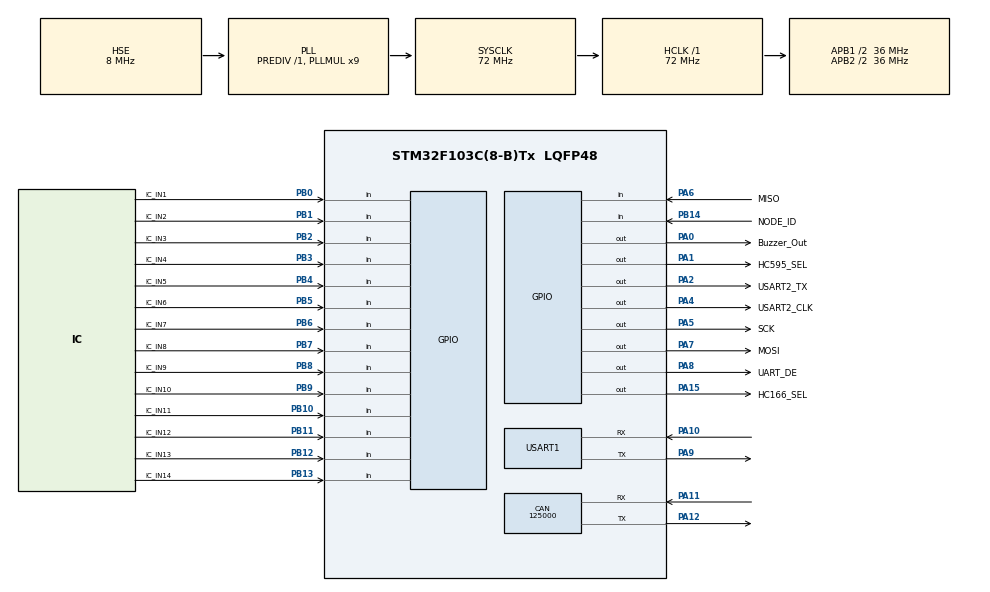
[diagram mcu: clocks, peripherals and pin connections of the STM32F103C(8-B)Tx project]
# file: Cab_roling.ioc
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CAN.BS1=CAN_BS1_15TQ
CAN.BS2=CAN_BS2_2TQ
CAN.CalculateBaudRate=125000
CAN.CalculateTimeBit=8000
CAN.CalculateTimeQuantum=444.44444444444446
CAN.NART=ENABLE
Mcu.Family=STM32F1
Mcu.Name=STM32F103C(8-B)Tx
Mcu.Package=LQFP48
NVIC.CAN1_RX1_IRQn=true\:0\:0\:false\:false\:true\:true\:true\:true
NVIC.CAN1_SCE_IRQn=true\:0\:0\:false\:false\:true\:true\:true\:true
NVIC.PriorityGroup=NVIC_PRIORITYGROUP_4
NVIC.TIM2_IRQn=true\:1\:0\:true\:false\:true\:true\:true\:true
NVIC.TIM4_IRQn=true\:0\:0\:false\:false\:true\:true\:true\:true
NVIC.USART1_IRQn=true\:2\:0\:true\:false\:true\:true\:true\:true
NVIC.USB_HP_CAN1_TX_IRQn=true\:0\:0\:false\:false\:true\:true\:true\:true
NVIC.USB_LP_CAN1_RX0_IRQn=true\:0\:0\:false\:false\:true\:true\:true\:true
PA0-WKUP.GPIO_Label=Buzzer_Out
PA0-WKUP.Signal=GPIO_Output
PA1.GPIO_Label=HC595_SEL
PA1.Signal=GPIO_Output
PA10.Mode=Asynchronous
PA10.Signal=USART1_RX
PA11.Mode=CAN_Activate
PA11.Signal=CAN_RX
PA12.Mode=CAN_Activate
PA12.Signal=CAN_TX
PA13.Mode=Serial_Wire
PA13.Signal=SYS_JTMS-SWDIO
PA14.Mode=Serial_Wire
PA14.Signal=SYS_JTCK-SWCLK
PA15.GPIO_Label=HC166_SEL
PA15.Signal=GPIO_Output
PA2.GPIO_Label=USART2_TX
PA2.GPIO_Speed=GPIO_SPEED_FREQ_HIGH
PA2.Signal=GPIO_Output
PA4.GPIO_Label=USART2_CLK
PA4.GPIO_Speed=GPIO_SPEED_FREQ_HIGH
PA4.Signal=GPIO_Output
PA5.GPIO_Label=SCK
PA5.GPIO_Speed=GPIO_SPEED_FREQ_HIGH
PA5.Signal=GPIO_Output
PA6.GPIO_Label=MISO
PA6.Signal=GPIO_Input
PA7.GPIO_Label=MOSI
PA7.Signal=GPIO_Output
PA8.GPIO_Label=UART_DE
PA8.Signal=GPIO_Output
PA9.Mode=Asynchronous
PA9.Signal=USART1_TX
PB0.GPIO_Label=IC_IN1
PB0.Signal=GPIO_Input
PB1.GPIO_Label=IC_IN2
PB1.Signal=GPIO_Input
PB10.GPIO_Label=IC_IN11
PB10.Signal=GPIO_Input
PB11.GPIO_Label=IC_IN12
PB11.Signal=GPIO_Input
PB12.GPIO_Label=IC_IN13
PB12.Signal=GPIO_Input
PB13.GPIO_Label=IC_IN14
PB13.Signal=GPIO_Input
PB14.GPIO_Label=NODE_ID
PB14.GPIO_PuPd=GPIO_PULLUP
PB14.Signal=GPIO_Input
PB2.GPIO_Label=IC_IN3
PB2.Signal=GPIO_Input
PB3.GPIO_Label=IC_IN4
PB3.Signal=GPIO_Input
PB4.GPIO_Label=IC_IN5
PB4.Signal=GPIO_Input
PB5.GPIO_Label=IC_IN6
PB5.Signal=GPIO_Input
PB6.GPIO_Label=IC_IN7
PB6.Signal=GPIO_Input
PB7.GPIO_Label=IC_IN8
PB7.Signal=GPIO_Input
PB8.GPIO_Label=IC_IN9
PB8.Signal=GPIO_Input
PB9.GPIO_Label=IC_IN10
PB9.Signal=GPIO_Input
PD0-OSC_IN.Mode=HSE-External-Oscillator
PD0-OSC_IN.Signal=RCC_OSC_IN
PD1-OSC_OUT.Mode=HSE-External-Oscillator
PD1-OSC_OUT.Signal=RCC_OSC_OUT
ProjectManager.HeapSize=0x2000
ProjectManager.StackSize=0x4000
ProjectManager.TargetToolchain=STM32CubeIDE
RCC.AHBFreq_Value=72000000
RCC.APB1CLKDivider=RCC_HCLK_DIV2
RCC.APB1Freq_Value=36000000
RCC.APB1TimFreq_Value=72000000
RCC.APB2CLKDivider=RCC_HCLK_DIV2
RCC.APB2Freq_Value=36000000
RCC.APB2TimFreq_Value=72000000
RCC.HCLKFreq_Value=72000000
RCC.PLLMUL=RCC_PLL_MUL9
RCC.PLLSourceVirtual=RCC_PLLSOURCE_HSE
RCC.SYSCLKFreq_VALUE=72000000
RCC.SYSCLKSource=RCC_SYSCLKSOURCE_PLLCLK
RCC.USBFreq_Value=72000000
TIM2.Period=4999
TIM2.Prescaler=7199
TIM4.Period=19
TIM4.Prescaler=7199
USART1.VirtualMode=VM_ASYNC
VP_TIM2_VS_ClockSourceINT.Mode=Internal
VP_TIM4_VS_ClockSourceINT.Mode=Internal
board=custom

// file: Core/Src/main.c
/* USER CODE BEGIN Header */
/**
 ******************************************************************************
 * @file           : main.c
 * @brief          : Main program body
 ******************************************************************************
 * @attention
 *
 * Copyright (c) 2022 STMicroelectronics.
 * All rights reserved.
 *
 * This software is licensed under terms that can be found in the LICENSE file
 * in the root directory of this software component.
 * If no LICENSE file comes with this software, it is provided AS-IS.
 *
 ******************************************************************************
 */
/* USER CODE END Header */
#include "main.h"

/* USER CODE BEGIN Includes */
#include "allHeader.h"
/* USER CODE END Includes */

/* USER CODE BEGIN PM */

#define PC13_OUT (*(volatile uint32_t *)0x422201B4)

#define SP 0x5000
#define VP 0x1003
#define PAUSE 1
#define STATIC 3
#define HIDE 2
#define NORMAL 0

#define RED 0XF800
#define WHITE 0xFFFF
/* USER CODE END PM */

 CAN_HandleTypeDef hcan;

TIM_HandleTypeDef htim2;
TIM_HandleTypeDef htim4;

UART_HandleTypeDef huart1;

void SystemClock_Config(void);
static void MX_GPIO_Init(void);
static void MX_CAN_Init(void);
static void MX_TIM2_Init(void);
static void MX_USART1_UART_Init(void);
static void MX_TIM4_Init(void);

/* USER CODE BEGIN 0 */

/*--
 * leghtRequest: lenght of cable will be cut
 * quantityRequest: quantity uints will be cut
     2 variable use for Binz

 * SCALEROTAION define should be change in input.h :
 * actualMet is variable measure meter reality
 * speedEncoderRPM is variale to measure speed of encoder
--*/

uint32_t test ;
char Textmessage[55]= "Welcome to Zeit Elevator!";
char TextErrmessage[55]= "ERROR_EMERGENCY";
uint8_t buf[100] = {0};

int _write(int file, char *ptr, int len)
{
  /* Implement your write code here, this is used by puts and printf for example */
  int i=0;
  for(i=0 ; i<len ; i++)
    ITM_SendChar((*ptr++));
  return len;
}

int Dwin_Write_VP(uint16_t Addr,uint8_t *data,uint16_t len)
{
	uint8_t DwinBuf[100];
	DwinBuf[0] = 0x5A;
	DwinBuf[1] = 0xA5;
	DwinBuf[2] = 2*len + 1;  //
	DwinBuf[3] = 0x82;
	DwinBuf[4] = Addr>>8;
	DwinBuf[5] = Addr;
	for(int i=0;i<len;i++)
	{
		DwinBuf[6+i] = data[i];
	}
    len = 2*len + 4;
    HAL_UART_Transmit(&huart1, DwinBuf, len, 100);
	return 1;
}

void changeColor(uint16_t sp, uint16_t color)
{
	  uint8_t bufferColor[2] = {0};
    bufferColor[0]        = color >> 8;
    bufferColor[1]        = color;
    Dwin_Write_VP(sp + 3, bufferColor,2);
}

void changModeRollText(uint16_t sp, uint16_t mode)
{
  uint8_t bufferColor[2] = {0};
  bufferColor[0]         = mode >> 8;
  bufferColor[1]         = mode;
  Dwin_Write_VP(sp + 2, bufferColor,2);
}

void middleRollText(uint16_t sp, uint8_t mode)
{
  Dwin_Write_VP(sp + 2, &mode,2);
}
void roll(void)
{
  changeColor(SP,WHITE);
	for (int i = 0; i <= sizeof(Textmessage); i++)
	{
		buf[2*i+1] = Textmessage[i];
	}
	Dwin_Write_VP(VP,buf,55);
  changModeRollText(SP,NORMAL);
}

void SHOW(void)
{
  changModeRollText(SP,STATIC);
  middleRollText(SP,2); // middle
  changeColor(SP,RED);
	for (int i = 0; i <= sizeof(Textmessage); i++)
	{
		buf[2*i+1] = TextErrmessage[i];
	}
	Dwin_Write_VP(VP,buf,55);
}
/* USER CODE END 0 */

int main(void)
{

  /* MCU Configuration--------------------------------------------------------*/

  /* Reset of all peripherals, Initializes the Flash interface and the Systick. */
  HAL_Init();

  /* Configure the system clock */
  SystemClock_Config();

  /* Initialize all configured peripherals */
  MX_GPIO_Init();
  MX_CAN_Init();
  MX_TIM2_Init();
  MX_USART1_UART_Init();
  MX_TIM4_Init();
  /* USER CODE BEGIN 2 */
  //HAL_TIM_Encoder_Start(&htim3 , TIM_CHANNEL_ALL);
  HAL_TIM_Base_Start_IT(&htim2);
  HAL_UART_Receive_IT(&huart1, &rxData, 1);
  HAL_TIM_Base_Start_IT(&htim4);
  test  = 0x42000000 + (uint32_t)(&GPIOC->ODR)*32 + 13*4;

  PC13_OUT = 1;

  // roll();
  // HAL_Delay(10000);

  // SHOW();
  // HAL_Delay(5000);

  // roll();

roll();
HAL_Delay(10000);
SHOW();
HAL_Delay(5000);

roll();

  /* USER CODE END 2 */

  /* Infinite loop */
  while(1)
  {

  }
}

void SystemClock_Config(void)
{
  RCC_OscInitTypeDef RCC_OscInitStruct = {0};
  RCC_ClkInitTypeDef RCC_ClkInitStruct = {0};

  /** Initializes the RCC Oscillators according to the specified parameters
  * in the RCC_OscInitTypeDef structure.
  */
  RCC_OscInitStruct.OscillatorType = RCC_OSCILLATORTYPE_HSE;
  RCC_OscInitStruct.HSEState = RCC_HSE_ON;
  RCC_OscInitStruct.HSEPredivValue = RCC_HSE_PREDIV_DIV1;
  RCC_OscInitStruct.HSIState = RCC_HSI_ON;
  RCC_OscInitStruct.PLL.PLLState = RCC_PLL_ON;
  RCC_OscInitStruct.PLL.PLLSource = RCC_PLLSOURCE_HSE;
  RCC_OscInitStruct.PLL.PLLMUL = RCC_PLL_MUL9;
  if (HAL_RCC_OscConfig(&RCC_OscInitStruct) != HAL_OK)
  {
    Error_Handler();
  }

  /** Initializes the CPU, AHB and APB buses clocks
  */
  RCC_ClkInitStruct.ClockType = RCC_CLOCKTYPE_HCLK|RCC_CLOCKTYPE_SYSCLK
                              |RCC_CLOCKTYPE_PCLK1|RCC_CLOCKTYPE_PCLK2;
  RCC_ClkInitStruct.SYSCLKSource = RCC_SYSCLKSOURCE_PLLCLK;
  RCC_ClkInitStruct.AHBCLKDivider = RCC_SYSCLK_DIV1;
  RCC_ClkInitStruct.APB1CLKDivider = RCC_HCLK_DIV2;
  RCC_ClkInitStruct.APB2CLKDivider = RCC_HCLK_DIV2;

  if (HAL_RCC_ClockConfig(&RCC_ClkInitStruct, FLASH_LATENCY_2) != HAL_OK)
  {
    Error_Handler();
  }
}

static void MX_CAN_Init(void)
{

  hcan.Instance = CAN1;
  hcan.Init.Prescaler = 16;
  hcan.Init.Mode = CAN_MODE_NORMAL;
  hcan.Init.SyncJumpWidth = CAN_SJW_1TQ;
  hcan.Init.TimeSeg1 = CAN_BS1_15TQ;
  hcan.Init.TimeSeg2 = CAN_BS2_2TQ;
  hcan.Init.TimeTriggeredMode = DISABLE;
  hcan.Init.AutoBusOff = DISABLE;
  hcan.Init.AutoWakeUp = DISABLE;
  hcan.Init.AutoRetransmission = ENABLE;
  hcan.Init.ReceiveFifoLocked = DISABLE;
  hcan.Init.TransmitFifoPriority = DISABLE;
  if (HAL_CAN_Init(&hcan) != HAL_OK)
  {
    Error_Handler();
  }

}

static void MX_TIM2_Init(void)
{

  TIM_ClockConfigTypeDef sClockSourceConfig = {0};
  TIM_MasterConfigTypeDef sMasterConfig = {0};

  htim2.Instance = TIM2;
  htim2.Init.Prescaler = 7199;
  htim2.Init.CounterMode = TIM_COUNTERMODE_UP;
  htim2.Init.Period = 4999;
  htim2.Init.ClockDivision = TIM_CLOCKDIVISION_DIV1;
  htim2.Init.AutoReloadPreload = TIM_AUTORELOAD_PRELOAD_DISABLE;
  if (HAL_TIM_Base_Init(&htim2) != HAL_OK)
  {
    Error_Handler();
  }
  sClockSourceConfig.ClockSource = TIM_CLOCKSOURCE_INTERNAL;
  if (HAL_TIM_ConfigClockSource(&htim2, &sClockSourceConfig) != HAL_OK)
  {
    Error_Handler();
  }
  sMasterConfig.MasterOutputTrigger = TIM_TRGO_RESET;
  sMasterConfig.MasterSlaveMode = TIM_MASTERSLAVEMODE_DISABLE;
  if (HAL_TIMEx_MasterConfigSynchronization(&htim2, &sMasterConfig) != HAL_OK)
  {
    Error_Handler();
  }

}

static void MX_TIM4_Init(void)
{

  TIM_ClockConfigTypeDef sClockSourceConfig = {0};
  TIM_MasterConfigTypeDef sMasterConfig = {0};

  htim4.Instance = TIM4;
  htim4.Init.Prescaler = 7199;
  htim4.Init.CounterMode = TIM_COUNTERMODE_UP;
  htim4.Init.Period = 19;
  htim4.Init.ClockDivision = TIM_CLOCKDIVISION_DIV1;
  htim4.Init.AutoReloadPreload = TIM_AUTORELOAD_PRELOAD_DISABLE;
  if (HAL_TIM_Base_Init(&htim4) != HAL_OK)
  {
    Error_Handler();
  }
  sClockSourceConfig.ClockSource = TIM_CLOCKSOURCE_INTERNAL;
  if (HAL_TIM_ConfigClockSource(&htim4, &sClockSourceConfig) != HAL_OK)
  {
    Error_Handler();
  }
  sMasterConfig.MasterOutputTrigger = TIM_TRGO_RESET;
  sMasterConfig.MasterSlaveMode = TIM_MASTERSLAVEMODE_DISABLE;
  if (HAL_TIMEx_MasterConfigSynchronization(&htim4, &sMasterConfig) != HAL_OK)
  {
    Error_Handler();
  }

}

static void MX_USART1_UART_Init(void)
{

  huart1.Instance = USART1;
  huart1.Init.BaudRate = 115200;
  huart1.Init.WordLength = UART_WORDLENGTH_8B;
  huart1.Init.StopBits = UART_STOPBITS_1;
  huart1.Init.Parity = UART_PARITY_NONE;
  huart1.Init.Mode = UART_MODE_TX_RX;
  huart1.Init.HwFlowCtl = UART_HWCONTROL_NONE;
  huart1.Init.OverSampling = UART_OVERSAMPLING_16;
  if (HAL_UART_Init(&huart1) != HAL_OK)
  {
    Error_Handler();
  }

}

static void MX_GPIO_Init(void)
{
  GPIO_InitTypeDef GPIO_InitStruct = {0};

  /* GPIO Ports Clock Enable */
  __HAL_RCC_GPIOD_CLK_ENABLE();
  __HAL_RCC_GPIOA_CLK_ENABLE();
  __HAL_RCC_GPIOB_CLK_ENABLE();

  /*Configure GPIO pin Output Level */
  HAL_GPIO_WritePin(GPIOA, Buzzer_Out_Pin|HC595_SEL_Pin|USART2_TX_Pin|USART2_CLK_Pin
                          |SCK_Pin|MOSI_Pin|UART_DE_Pin|HC166_SEL_Pin, GPIO_PIN_RESET);

  /*Configure GPIO pins : Buzzer_Out_Pin HC595_SEL_Pin MOSI_Pin UART_DE_Pin
                           HC166_SEL_Pin */
  GPIO_InitStruct.Pin = Buzzer_Out_Pin|HC595_SEL_Pin|MOSI_Pin|UART_DE_Pin
                          |HC166_SEL_Pin;
  GPIO_InitStruct.Mode = GPIO_MODE_OUTPUT_PP;
  GPIO_InitStruct.Pull = GPIO_NOPULL;
  GPIO_InitStruct.Speed = GPIO_SPEED_FREQ_LOW;
  HAL_GPIO_Init(GPIOA, &GPIO_InitStruct);

  /*Configure GPIO pins : USART2_TX_Pin USART2_CLK_Pin SCK_Pin */
  GPIO_InitStruct.Pin = USART2_TX_Pin|USART2_CLK_Pin|SCK_Pin;
  GPIO_InitStruct.Mode = GPIO_MODE_OUTPUT_PP;
  GPIO_InitStruct.Pull = GPIO_NOPULL;
  GPIO_InitStruct.Speed = GPIO_SPEED_FREQ_HIGH;
  HAL_GPIO_Init(GPIOA, &GPIO_InitStruct);

  /*Configure GPIO pin : MISO_Pin */
  GPIO_InitStruct.Pin = MISO_Pin;
  GPIO_InitStruct.Mode = GPIO_MODE_INPUT;
  GPIO_InitStruct.Pull = GPIO_NOPULL;
  HAL_GPIO_Init(MISO_GPIO_Port, &GPIO_InitStruct);

  /*Configure GPIO pins : IC_IN1_Pin IC_IN2_Pin IC_IN3_Pin IC_IN11_Pin
                           IC_IN12_Pin IC_IN13_Pin IC_IN14_Pin IC_IN4_Pin
                           IC_IN5_Pin IC_IN6_Pin IC_IN7_Pin IC_IN8_Pin
                           IC_IN9_Pin IC_IN10_Pin */
  GPIO_InitStruct.Pin = IC_IN1_Pin|IC_IN2_Pin|IC_IN3_Pin|IC_IN11_Pin
                          |IC_IN12_Pin|IC_IN13_Pin|IC_IN14_Pin|IC_IN4_Pin
                          |IC_IN5_Pin|IC_IN6_Pin|IC_IN7_Pin|IC_IN8_Pin
                          |IC_IN9_Pin|IC_IN10_Pin;
  GPIO_InitStruct.Mode = GPIO_MODE_INPUT;
  GPIO_InitStruct.Pull = GPIO_NOPULL;
  HAL_GPIO_Init(GPIOB, &GPIO_InitStruct);

  /*Configure GPIO pin : NODE_ID_Pin */
  GPIO_InitStruct.Pin = NODE_ID_Pin;
  GPIO_InitStruct.Mode = GPIO_MODE_INPUT;
  GPIO_InitStruct.Pull = GPIO_PULLUP;
  HAL_GPIO_Init(NODE_ID_GPIO_Port, &GPIO_InitStruct);

}

void Error_Handler(void)
{
  __disable_irq();
  while(1)
  {
  }
}
